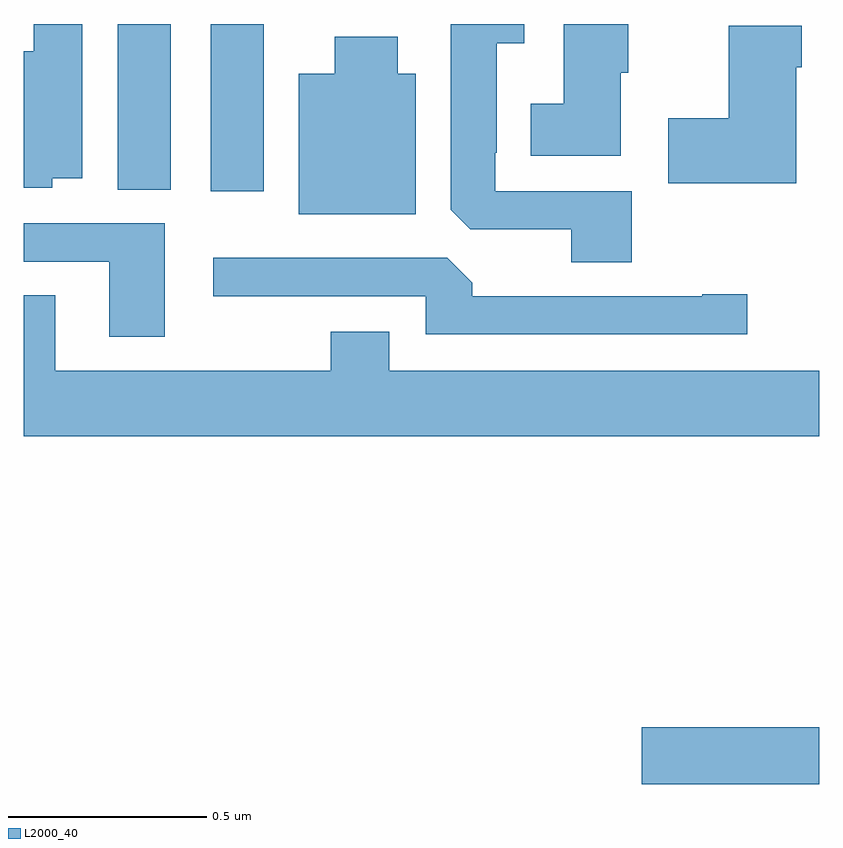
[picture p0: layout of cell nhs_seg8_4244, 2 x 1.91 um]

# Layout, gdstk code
import gdstk
lib = gdstk.Library(unit=1e-6, precision=1e-09)
def R(c, l, rs):  # rectangles x0, y0, x1, y1
    for r in rs: c.add(gdstk.rectangle(r[:2], r[2:], *l))
def P(c, l, *ps):  # polygons
    for p in ps: c.add(gdstk.Polygon(p, *l))
L2000_40 = (2000, 40)

nhs_seg8_4244 = lib.new_cell('nhs_seg8_4244')
R(nhs_seg8_4244, L2000_40, [(169.554,1084.99,170,1085.132), (168.47,1086.48,168.604,1086.9), (168.236,1086.484,168.37,1086.9)])
P(nhs_seg8_4244, L2000_40, [(169.529,1086.48),(169.185,1086.48),(169.185,1086.577),(169.189,1086.577),(169.189,1086.851),(169.258,1086.851),(169.258,1086.9),(169.073,1086.9),(169.073,1086.433),(169.122,1086.384),(169.376,1086.384),(169.376,1086.301),(169.529,1086.301)],
  [(169.501,1086.777),(169.519,1086.777),(169.519,1086.9),(169.358,1086.9),(169.358,1086.7),(169.274,1086.7),(169.274,1086.569),(169.501,1086.569)],
  [(168.072,1086.512),(168.148,1086.512),(168.148,1086.9),(168.026,1086.9),(168.026,1086.832),(168,1086.832),(168,1086.488),(168.072,1086.488)],
  [(169.942,1086.791),(169.955,1086.791),(169.955,1086.895),(169.772,1086.895),(169.772,1086.663),(169.62,1086.663),(169.62,1086.5),(169.942,1086.5)],
  [(168.985,1086.775),(168.94,1086.775),(168.94,1086.868),(168.782,1086.868),(168.782,1086.775),(168.692,1086.775),(168.692,1086.422),(168.985,1086.422)],
  [(168.355,1086.399),(168,1086.399),(168,1086.303),(168.215,1086.303),(168.215,1086.114),(168.355,1086.114)],
  [(169.819,1086.221),(169.706,1086.221),(169.706,1086.216),(169.127,1086.216),(169.127,1086.25),(169.065,1086.312),(168.477,1086.312),(168.477,1086.216),(169.011,1086.216),(169.011,1086.12),(169.819,1086.12)],
  [(170,1086.028),(168.919,1086.028),(168.919,1086.127),(168.772,1086.127),(168.772,1086.028),(168.079,1086.028),(168.079,1086.218),(168,1086.218),(168,1085.864),(170,1085.864)])

lib.write_gds('nhs_seg8_4244.gds')
